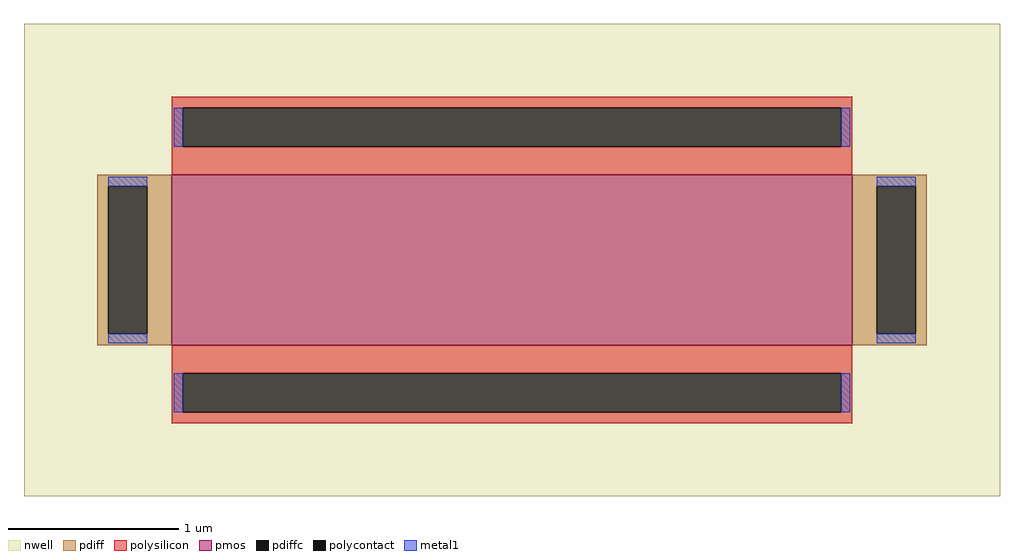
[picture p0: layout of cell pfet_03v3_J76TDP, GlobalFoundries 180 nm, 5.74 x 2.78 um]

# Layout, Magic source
magic
tech gf180mcuD
magscale 1 10
<< nwell >>
rect -574 -278 574 278
<< pmos >>
rect -400 -100 400 100
<< pdiff >>
rect -488 87 -400 100
rect -488 -87 -475 87
rect -429 -87 -400 87
rect -488 -100 -400 -87
rect 400 87 488 100
rect 400 -87 429 87
rect 475 -87 488 87
rect 400 -100 488 -87
<< pdiffc >>
rect -475 -87 -429 87
rect 429 -87 475 87
<< polysilicon >>
rect -400 179 400 192
rect -400 133 -387 179
rect 387 133 400 179
rect -400 100 400 133
rect -400 -133 400 -100
rect -400 -179 -387 -133
rect 387 -179 400 -133
rect -400 -192 400 -179
<< polycontact >>
rect -387 133 387 179
rect -387 -179 387 -133
<< metal1 >>
rect -398 133 -387 179
rect 387 133 398 179
rect -475 87 -429 98
rect -475 -98 -429 -87
rect 429 87 475 98
rect 429 -98 475 -87
rect -398 -179 -387 -133
rect 387 -179 398 -133
<< properties >>
string gencell pfet_03v3
string library gf180mcu
string parameters w 1 l 4 m 1 nf 1 diffcov 100 polycov 100 guard 0 glc 0 grc 0 gtc 0 gbc 0 tbcov 100 rlcov 100 topc 1 botc 1 poverlap 0 doverlap 1 lmin 0.28 wmin 0.22 class mosfet full_metal 0 compatible {pfet_03v3 pfet_05v0 pfet_06v0}
<< end >>
